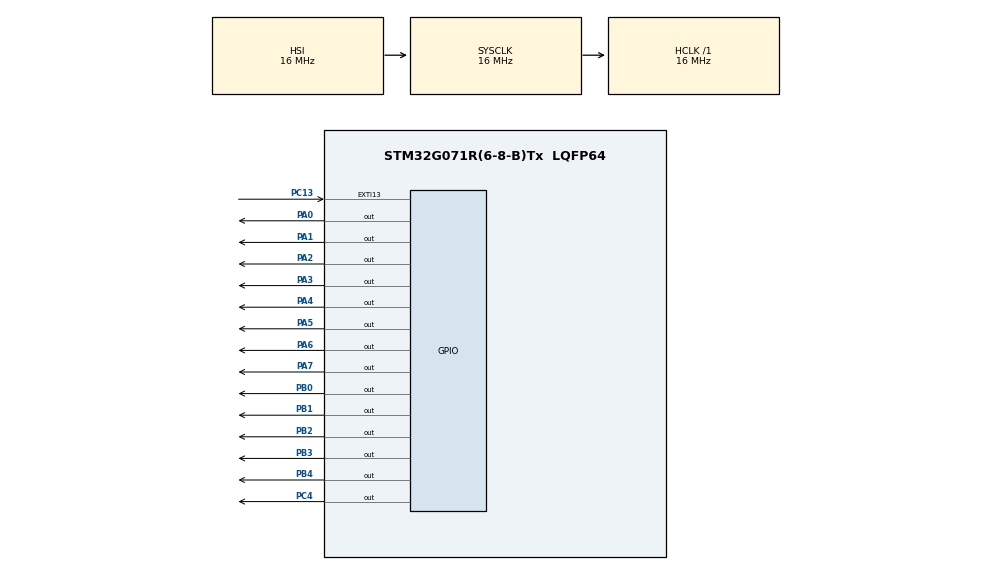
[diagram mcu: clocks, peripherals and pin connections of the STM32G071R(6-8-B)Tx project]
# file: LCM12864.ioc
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Mcu.Family=STM32G0
Mcu.Name=STM32G071R(6-8-B)Tx
Mcu.Package=LQFP64
NVIC.EXTI4_15_IRQn=true\:0\:0\:false\:false\:true\:true\:true
PA0.Signal=GPIO_Output
PA1.Signal=GPIO_Output
PA2.Signal=GPIO_Output
PA3.Signal=GPIO_Output
PA4.Signal=GPIO_Output
PA5.Signal=GPIO_Output
PA6.Signal=GPIO_Output
PA7.Signal=GPIO_Output
PB0.Signal=GPIO_Output
PB1.Signal=GPIO_Output
PB2.Signal=GPIO_Output
PB3.Signal=GPIO_Output
PB4.Signal=GPIO_Output
PC13.GPIO_ModeDefaultEXTI=GPIO_MODE_IT_FALLING
PC13.Signal=GPXTI13
PC4.Signal=GPIO_Output
ProjectManager.HeapSize=0x200
ProjectManager.StackSize=0x400
ProjectManager.TargetToolchain=MDK-ARM V5.27
RCC.AHBFreq_Value=16000000
RCC.CortexFreq_Value=16000000
RCC.EXTERNAL_CLOCK_VALUE=48000
RCC.HCLKFreq_Value=16000000
RCC.HSE_VALUE=8000000
RCC.HSI_VALUE=16000000
RCC.LSE_VALUE=32768
RCC.SYSCLKFreq_VALUE=16000000
RCC.VCOOutputFreq_Value=128000000
VP_SYS_VS_DBSignals.Mode=DisableDeadBatterySignals
board=custom

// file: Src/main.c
/* USER CODE BEGIN Header */
/**
  ******************************************************************************
  * @file           : main.c
  * @brief          : Main program body
  ******************************************************************************
  * @attention
  *
  * <h2><center>&copy; Copyright (c) 2021 STMicroelectronics.
  * All rights reserved.</center></h2>
  *
  * This software component is licensed by ST under BSD 3-Clause license,
  * the "License"; You may not use this file except in compliance with the
  * License. You may obtain a copy of the License at:
  *                        opensource.org/licenses/BSD-3-Clause
  *
  ******************************************************************************
  */

/* USER CODE END Header */
#include "main.h"

#define u8  unsigned char
#define u16 unsigned int

int last_num[32][16];

void delay(void);
void lcdwritecmd(unsigned char cmd);
void lcdwritedata(unsigned char dat);
void lcdinit(void);

void clear(void);
void drowpoint(char x,char y,char z);
void lcdsetcursor(unsigned char x, unsigned char y);
void lcdshowstr(unsigned char x, unsigned char y, unsigned char *str);

const int flg[4][2]={{1,0},{0,1},{0,-1},{-1,0}};//下右左上坐标变化规律
int n=127,m=63;  //n和m是蛇的活动范围28行76列+边框=可视化窗口大小
struct xcw{int x,y;}tang[5][15],foodd[2];//结构体tan存储每条蛇的坐标  结构体foodd记录两个食物坐标
int tot[5];     //tot[0123]是四条蛇的长度
int f[5];       //存储蛇的运行状态0123下右左上   搭配flg使用
int score;      //得分
int food;       //食物个数
int ans_len=1e9;
int vis[128][64];//记录食物存在点的矩阵  例如(foddd[0].x,foddd[0].y)有食物则vis[foddd[0].x][foddd[0].y]=1

int  mods();         //对应模式小蛇初始化
void draw();         //显示边框
void rand_food();    //没有食物时随机投喂
int  change(int t);  //没有按键按下蛇的运行
int check(int x,int y);         //检验某一个点
void machine(int t,int x,int y); //机器人寻路
void result(int t);              //积分够了-胜利
int  ads(int x);                 //取绝对值
int  other(int x);               //03交换、12交换
int get_food(int x,int y,int xxx,int yyy); //辅助机器人找寻食物

//void Ending();                   //结束
//void fnd(int t,int x,int y);     //撞墙撞蛇--失败
/* USER CODE BEGIN Includes */
ITStatus EXTI_GetITStatus(uint32_t EXTI_Line)
{
    ITStatus bitstatus = RESET; //chushi wei zhuangtai 0
    uint32_t enablestatus = 0;  //chushi shineng zhuangtai 0
    /* Check the parameters */
    assert_param(IS_GET_EXTI_LINE(EXTI_Line));
    enablestatus =  EXTI->IMR1 & EXTI_Line;
    if (((EXTI->FPR1 & EXTI_Line) != (uint32_t)RESET) && (enablestatus != (uint32_t)RESET))
		      bitstatus = SET;
    else
        bitstatus = RESET;
    return bitstatus;
}

void EXTI_ClearITPendingBit(uint32_t EXTI_Line)
{
  /* Check the parameters */
  assert_param(IS_EXTI_LINE(EXTI_Line));
  EXTI->FPR1 = EXTI_Line;
}

/*
static void MX_GPIOA_INPUT_Init(void) //初始化为输入模式
{
	GPIO_InitTypeDef GPIO_InitStruct = {0}; //用于初始化的结构体

	//Configure GPIO pins : PA0 PA1 PA2 PA3 PA4 PA5 PA6 PA7
  GPIO_InitStruct.Pin = GPIO_PIN_0|GPIO_PIN_1|GPIO_PIN_2|GPIO_PIN_3
                          |GPIO_PIN_4|GPIO_PIN_5|GPIO_PIN_6|GPIO_PIN_7;
  GPIO_InitStruct.Mode = GPIO_MODE_INPUT;
  GPIO_InitStruct.Pull = GPIO_NOPULL;
  HAL_GPIO_Init(GPIOA, &GPIO_InitStruct);
}

static void MX_GPIOA_OUTPUT_Init(void) //初始化为输出模式
{
	GPIO_InitTypeDef GPIO_InitStruct = {0};

	//Configure GPIO pins : PA0 PA1 PA2 PA3 PA4 PA5 PA6 PA7
  GPIO_InitStruct.Pin = GPIO_PIN_0|GPIO_PIN_1|GPIO_PIN_2|GPIO_PIN_3
                          |GPIO_PIN_4|GPIO_PIN_5|GPIO_PIN_6|GPIO_PIN_7;
  GPIO_InitStruct.Mode = GPIO_MODE_OUTPUT_PP;
  GPIO_InitStruct.Pull = GPIO_NOPULL;
  GPIO_InitStruct.Speed = GPIO_SPEED_FREQ_LOW;
  HAL_GPIO_Init(GPIOA, &GPIO_InitStruct);
}
*/

/* USER CODE END Includes */

void SystemClock_Config(void);
static void MX_GPIO_Init(void);

int main(void)
{

  /* MCU Configuration--------------------------------------------------------*/

  /* Reset of all peripherals, Initializes the Flash interface and the Systick. */
  HAL_Init();

  /* Configure the system clock */
  SystemClock_Config();

  /* Initialize all configured peripherals */
  MX_GPIO_Init();
  /* USER CODE BEGIN 2 */
  lcdinit();
  clear();
	draw();
	HAL_Delay(1000);

//	srand(GetTickCount()); //返回自设备启动后的毫秒数 种下随机数种子
//	MEM(tang,0); //小蛇清空
//	MEM(vis,0); //食物清空

	score=0;
	food=0;
	mods();         //对应模式小蛇初始化

  while (1)
  {
//		HAL_Delay(10);
		rand_food();  //没有食物时随机投喂
    change(2),change(3);
  }
  /* USER CODE END 3 */
}

void SystemClock_Config(void)
{
  RCC_OscInitTypeDef RCC_OscInitStruct = {0};
  RCC_ClkInitTypeDef RCC_ClkInitStruct = {0};

  /** Configure the main internal regulator output voltage
  */
  HAL_PWREx_ControlVoltageScaling(PWR_REGULATOR_VOLTAGE_SCALE1);
  /** Initializes the RCC Oscillators according to the specified parameters
  * in the RCC_OscInitTypeDef structure.
  */
  RCC_OscInitStruct.OscillatorType = RCC_OSCILLATORTYPE_HSI;
  RCC_OscInitStruct.HSIState = RCC_HSI_ON;
  RCC_OscInitStruct.HSIDiv = RCC_HSI_DIV1;
  RCC_OscInitStruct.HSICalibrationValue = RCC_HSICALIBRATION_DEFAULT;
  RCC_OscInitStruct.PLL.PLLState = RCC_PLL_NONE;
  if (HAL_RCC_OscConfig(&RCC_OscInitStruct) != HAL_OK)
  {
    Error_Handler();
  }
  /** Initializes the CPU, AHB and APB buses clocks
  */
  RCC_ClkInitStruct.ClockType = RCC_CLOCKTYPE_HCLK|RCC_CLOCKTYPE_SYSCLK
                              |RCC_CLOCKTYPE_PCLK1;
  RCC_ClkInitStruct.SYSCLKSource = RCC_SYSCLKSOURCE_HSI;
  RCC_ClkInitStruct.AHBCLKDivider = RCC_SYSCLK_DIV1;
  RCC_ClkInitStruct.APB1CLKDivider = RCC_HCLK_DIV1;

  if (HAL_RCC_ClockConfig(&RCC_ClkInitStruct, FLASH_LATENCY_0) != HAL_OK)
  {
    Error_Handler();
  }
}

static void MX_GPIO_Init(void)
{
  GPIO_InitTypeDef GPIO_InitStruct = {0};

  /* GPIO Ports Clock Enable */
  __HAL_RCC_GPIOC_CLK_ENABLE();
  __HAL_RCC_GPIOA_CLK_ENABLE();
  __HAL_RCC_GPIOB_CLK_ENABLE();

  /*Configure GPIO pin Output Level */
  HAL_GPIO_WritePin(GPIOA, GPIO_PIN_0|GPIO_PIN_1|GPIO_PIN_2|GPIO_PIN_3
                          |GPIO_PIN_4|GPIO_PIN_5|GPIO_PIN_6|GPIO_PIN_7, GPIO_PIN_RESET);

  /*Configure GPIO pin Output Level */
  HAL_GPIO_WritePin(GPIOC, GPIO_PIN_4, GPIO_PIN_RESET);

  /*Configure GPIO pin Output Level */
  HAL_GPIO_WritePin(GPIOB, GPIO_PIN_0|GPIO_PIN_1|GPIO_PIN_2|GPIO_PIN_3
                          |GPIO_PIN_4, GPIO_PIN_RESET);

  /*Configure GPIO pin : PC13 */
  GPIO_InitStruct.Pin = GPIO_PIN_13;
  GPIO_InitStruct.Mode = GPIO_MODE_IT_FALLING;
  GPIO_InitStruct.Pull = GPIO_NOPULL;
  HAL_GPIO_Init(GPIOC, &GPIO_InitStruct);

  /*Configure GPIO pins : PA0 PA1 PA2 PA3
                           PA4 PA5 PA6 PA7 */
  GPIO_InitStruct.Pin = GPIO_PIN_0|GPIO_PIN_1|GPIO_PIN_2|GPIO_PIN_3
                          |GPIO_PIN_4|GPIO_PIN_5|GPIO_PIN_6|GPIO_PIN_7;
  GPIO_InitStruct.Mode = GPIO_MODE_OUTPUT_PP;
  GPIO_InitStruct.Pull = GPIO_NOPULL;
  GPIO_InitStruct.Speed = GPIO_SPEED_FREQ_LOW;
  HAL_GPIO_Init(GPIOA, &GPIO_InitStruct);

  /*Configure GPIO pin : PC4 */
  GPIO_InitStruct.Pin = GPIO_PIN_4;
  GPIO_InitStruct.Mode = GPIO_MODE_OUTPUT_PP;
  GPIO_InitStruct.Pull = GPIO_NOPULL;
  GPIO_InitStruct.Speed = GPIO_SPEED_FREQ_LOW;
  HAL_GPIO_Init(GPIOC, &GPIO_InitStruct);

  /*Configure GPIO pins : PB0 PB1 PB2 PB3
                           PB4 */
  GPIO_InitStruct.Pin = GPIO_PIN_0|GPIO_PIN_1|GPIO_PIN_2|GPIO_PIN_3
                          |GPIO_PIN_4;
  GPIO_InitStruct.Mode = GPIO_MODE_OUTPUT_PP;
  GPIO_InitStruct.Pull = GPIO_NOPULL;
  GPIO_InitStruct.Speed = GPIO_SPEED_FREQ_LOW;
  HAL_GPIO_Init(GPIOB, &GPIO_InitStruct);

  /* EXTI interrupt init*/
  HAL_NVIC_SetPriority(EXTI4_15_IRQn, 0, 0);
  HAL_NVIC_EnableIRQ(EXTI4_15_IRQn);

}

/* USER CODE BEGIN 4 */
void delay ()
{
	for(int i=0;i<99;i++)
	  for(int j=0;j<99;j++)
	 {}
}

void lcdwritecmd(unsigned char cmd)
{
	delay();          //           使能 写  指令
	GPIOB->ODR=0x18;  //RST=1\PSB=1\E=0\RW=0\RS=0
	GPIOA->ODR=cmd;
	GPIOB->ODR=0x1C;	//RST=1\PSB=1\E=1\RW=0\RS=0
	delay();
	GPIOB->ODR=0x18;	//RST=1\PSB=1\E=0\RW=0\RS=0
}

void lcdwritedata(unsigned char dat)
{
  delay();          //           使能  写  数据
	GPIOB->ODR=0x19;	//RST=1\PSB=1\E=0\RW=0\RS=1
  GPIOA->ODR=dat;
	GPIOB->ODR=0x1D;	//RST=1\PSB=1\E=1\RW=0\RS=1
	delay();
	GPIOB->ODR=0x19;	//RST=1\PSB=1\E=0\RW=0\RS=1
}

void lcdinit()
{
	lcdwritecmd(0x34); //E 使能   RS1数据0指令  RW1读0写
	lcdwritecmd(0x30);
	lcdwritecmd(0x0C);
	lcdwritecmd(0x01);
}

void clear(void)
{
	for(int i=0;i<=32;i++)  // 64行  不用一个一个像素清除了
		for(int j=0;j<=18;j++) // 18大列
	{
			lcdwritecmd(0x34);        //打开扩展指令集
			lcdwritecmd(0x80 + i - 1);
			lcdwritecmd(0x80 + j);
			lcdwritedata(0x00);
			lcdwritedata(0x00);
		  lcdwritecmd(0x36);        //打开绘图显示
			lcdwritecmd(0x30);        //回到基本指令集
	}

/*	{
			lcdwritecmd(0x80 + i - 1);
			lcdwritecmd(0x80 + j);
			lcdwritedata(0xAA);  //汉字显示 歪打正着
			lcdwritedata(0xAA);
	}  */
}

void drowpoint(char x,char y,char z)  //像素输出
{
  char i = 0;
	char j = 0;
	int num = 0x8000;         //16位输出高位在左
	lcdwritecmd(0x34);        //打开扩展指令集
	if( y <= 32 )
	{
		i += y;     // i=y    -1      i的范围32以下
		j = (x - 1) / 16;  //大列    j的范围16以下
		x = ( x%16>0? (x%16):16 ) - 1 ;
		num = num >> x;
	}
	else
	{
		i = y - 32;	 //i=y-32  -1
		j = ( (x - 1) / 16 ) + 8;
		x = ( x%16>0? (x%16):16 ) - 1 ;
		num = num >> x;
	}
	if(z>0)
 	  num = last_num[i][j] | num;
	else
	{
		num=~num;
		num=last_num[i][j] & num;
	}
	lcdwritecmd(0x80 + i - 1);
	lcdwritecmd(0x80 + j);
	lcdwritedata(num / 256);
	lcdwritedata(num % 256);
  lcdwritecmd(0x36);        //打开绘图显示
	lcdwritecmd(0x30);        //回到基本指令集

	last_num[i][j] = num;
}

void lcdsetcursor(unsigned char x, unsigned char y) //字符定位
{
	unsigned char address;
	if(y==0)
		address=0x80+x;
	else if(y==1)
		address=0x90+x;
	else if(y==2)
		address=0x88+x;
	else
		address=0x98+x;
	lcdwritecmd(address|0x80);
}

void lcdshowstr(unsigned char x, unsigned char y, unsigned char *str) //字符输出
{
	lcdsetcursor(x,y);
	while((*str)!='\0')
	{
		 lcdwritedata(*str);
  		str++;
	}
}

void EXTI4_15_IRQHandler(void)
{
	if (EXTI_GetITStatus(0x2000) != 0x00)  // 0x2000==EXTI_PIN_13
  {
		EXTI_ClearITPendingBit(0x2000);  //Clear interrupt flag bit
		HAL_GPIO_TogglePin(GPIOC,GPIO_PIN_4);
  }
}
/* USER CODE END 4 */

int mods()  //对应模式小蛇初始化
{
		tang[2][1].x=n;
		tang[2][1].y=m-3;
		tang[2][2].x=n;
		tang[2][1].y=m-2;
		tang[2][tot[2]=3].x=n;
		tang[2][tot[2]=3].y=m-1;

		f[2]=2;    //电脑1初始方向向左
		for(int i=1;i<=tot[2];i++)
			drowpoint(tang[2][i].x,tang[2][i].y,1);

		tang[3][1].x=2;
		tang[3][1].y=5;
		tang[3][2].x=2;
		tang[3][2].y=4;
		tang[3][tot[3]=3].x=2;
		tang[3][tot[3]=3].y=3;

		f[3]=2;   //电脑1初始方向向右
		for(int i=1;i<=tot[3];i++)
			drowpoint(tang[3][i].x,tang[3][i].y,1);
}

void draw()  //显示边框 【注】1行1格  2列1格
{
	for(int i=1;i<=n+1;i++)
	{
		drowpoint(i,1,1); //****
		drowpoint(i,m+1,1);
	}
	for(int i=1;i<=m+1;i++)
	{
		drowpoint(1,i,1);
		drowpoint(n+1,i,1);
	}
}

void rand_food()  //没有食物时随机投喂
{
    if(!vis[foodd[0].x][foodd[0].y]) //如果0号食物不见了
	{
		int x=rand()%(n+1),y=(rand()%m/2)*2; //随机产生xy坐标y为偶数
		while(!check(x,y))
			x=rand()%(n+1),y=(rand()%m/2)*2; //检验随机投喂的点，是否需要重新投喂
		drowpoint(x,y,1);
	    food++;
		vis[x][y]=1;
		foodd[0].x=x;
		foodd[0].y=y;
	}
	if(!vis[foodd[1].x][foodd[1].y])  //第二个食物--同上
	{
		int x=rand()%n,y=rand()%m;
		while(!check(x,y))
			x=rand()%n,y=(rand()%m);
		drowpoint(x,y,1);
		food++;
		vis[x][y]=1;
		foodd[1].x=x;
		foodd[1].y=y;
	}
}

int change(int t)  //没有按键按下蛇的运行--第t条蛇
{
	int x=tang[t][1].x,y=tang[t][1].y;    //x和y是蛇头位置的xy
	if(t==2||t==3)                      //2号和3号蛇是电脑
		machine(t,x,y);                 //机器人寻路
	x+=flg[f[t]][0],y+=flg[f[t]][1];    //蛇头(x,y)按规律变化
	for(int i=tot[t];i;i--)             //蛇的身子位置数据库刷新
	   {
	        tang[t][i+1]=tang[t][i];
	        drowpoint(tang[t][i].x,tang[t][i].y,1); //身子显示刷新，配合蛇头颜色
		}
	drowpoint(tang[t][tot[t]+1].x,tang[t][tot[t]+1].y,0); //原来的蛇尾消失
	if(vis[x][y])  //如果吃掉一个食物的话
	{
		vis[x][y]=0,score+=(t==0||t==1),food--;
		if(++tot[t]>=10)  //有一方吃够分
			result(t);
		drowpoint(tang[t][tot[t]].x,tang[t][tot[t]].y,1); //尾巴处+1
	}
//	fnd(t,x,y);   //一方撞墙撞蛇则失败
	tang[t][1].x=x;    //把蛇头位置反馈到全局变量中
	tang[t][1].y=y;
	drowpoint(tang[t][1].x,tang[t][1].y,1);  //显示蛇头
}

int check(int x,int y)         //检验某一个点
{
	if(x<1||x>n||y<2||y>m)  //边界外返回0
		return 0;
	int t=1;
	for(int i=1;i<=tot[2];i++)
	   if(x==tang[2][i].x&&y==tang[2][i].y)
				{t=0;break;}
	for(int i=1;i<=tot[3];i++)
	   if(x==tang[3][i].x&&y==tang[3][i].y)
				{t=0;break;}
	return t;    //都不在这些点返回1
}

void machine(int t,int x,int y)  //机器人寻路
{
	int tt=0;
	int foodid,minn=1e9,newf=f[t];
	if((get_food(x,y,foodd[0].x,foodd[0].y)<=get_food(x,y,foodd[1].x,foodd[1].y)&&vis[foodd[0].x][foodd[0].y])||!vis[foodd[1].x][foodd[1].y])
		foodid=0;
	else
		foodid=1;
	for(int i=0;i<4;i++)
		if(f[t]^other(i))
		{
			if(check(x+flg[i][0],y+flg[i][1]))
			{
				int now=get_food(x+flg[i][0],y+flg[i][1],foodd[foodid].x,foodd[foodid].y);
				if(now<minn)
					newf=i,tt=1,minn=now;
				if(!tt)
					newf=i;
			}
		}
	f[t]=newf;
}

void result(int t)  //积分够了--胜利
{
	  if(t==2)
		    lcdshowstr(1,1,"Robote1 Wine   (Enough)");
		else
		    lcdshowstr(1,1,"Robote2 Wine   (Enough)");
		while(1);
}

int ads(int x)  //取绝对值
{
    return x<0?-x:x; //x是否<0,如果x<0的话就执行:前面的语句，如果x不小于0的话就执行:后面的语句
}

int other(int x)  //03交换、12交换
{
	if     (x==0) return 3;
	else if(x==1) return 2;
	else if(x==2) return 1;
	else          return 0;
}

int get_food(int x,int y,int xxx,int yyy)  //辅助机器人找寻食物
{
    return ads(x-xxx)+ads(y-yyy);
}

void Error_Handler(void)
{
  __disable_irq();
  while (1)
  {
  }
}

/************************ (C) COPYRIGHT STMicroelectronics *****END OF FILE****/
